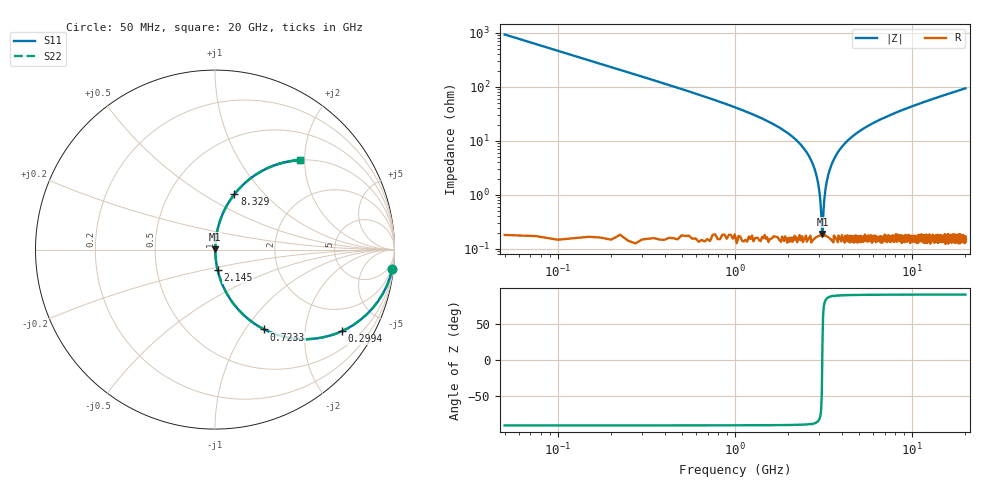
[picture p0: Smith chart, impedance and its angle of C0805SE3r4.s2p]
! AVX Thin Film Operation		Date: April 2012
! Description: Accu-P® Series, Thin Film, SMD, RF Capacitor
! Part Number: 08051J3R4ABTTR
!	100	MHz	-	20.05	GHz
!	Serial	Measurements
#	MHZ	S	MA	R	50
!	S11	S21	S12	S22
!	dB	Phase	dB	Phase	dB	Phase	dB	Phase
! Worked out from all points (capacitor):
!   801 points, 50 MHz to 20 GHz, reference 50 ohm
!   read as one part in series: C = 3.4 pF near 149.8 MHz
!   lowest |Z| = 190 mohm at 3.117 GHz (marker M1)
!   series resonance near 3.111 GHz, so ESL is about 770 pH
!   S11 on the Smith chart (normalised r, x): 50 MHz: 1, -19; 299.4 MHz: 1.00, -3.10; 723.3 MHz: 1.00, -1.23; 2.145 GHz: 1.00, -0.23; 8.329 GHz: 1.00, +0.69; 20 GHz: 1.00, +1.89
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50  0.994 -6.1  0.106 83.9  0.106 83.9  0.994 -6.1
199.625  0.919 -23.2  0.394 66.8  0.394 66.8  0.919 -23.2
299.375  0.84 -32.8  0.542 57.1  0.542 57.1  0.84 -32.8
723.313  0.522 -58.4  0.852 31.4  0.852 31.4  0.522 -58.4
1247  0.3 -72.3  0.952 17.5  0.952 17.5  0.3 -72.3
2144.75  0.114 -82.7  0.992 6.5  0.992 6.5  0.114 -82.7
2518.813  0.064 -84.9  0.996 3.7  0.996 3.7  0.064 -84.9
2768.188  0.035 -85.4  0.998 2.0  0.998 2.0  0.035 -85.4
2917.813  0.019 -84.3  0.998 1.1  0.998 1.1  0.019 -84.3
3042.5  0.006827 -76.4  0.998 0.4  0.998 0.4  0.006827 -76.4
3117.313  0.00169 22.7  0.998 -0.0  0.998 -0.0  0.00169 22.7
3192.125  0.007936 78.2  0.998 -0.4  0.998 -0.4  0.007936 78.2
3266.938  0.015 83.1  0.998 -0.8  0.998 -0.8  0.015 83.1
3391.625  0.026 85.1  0.998 -1.5  0.998 -1.5  0.026 85.1
3765.688  0.058 85.1  0.997 -3.3  0.997 -3.3  0.058 85.1
4389.125  0.105 83.1  0.993 -6.0  0.993 -6.0  0.105 83.1
6708.313  0.247 75.4  0.968 -14.3  0.968 -14.3  0.247 75.4
8329.25  0.327 70.6  0.943 -19.1  0.943 -19.1  0.327 70.6
10025  0.401 66.2  0.915 -23.6  0.915 -23.6  0.401 66.2
13366.62  0.521 58.4  0.852 -31.4  0.852 -31.4  0.521 58.4
16683.31  0.614 52.0  0.788 -37.9  0.788 -37.9  0.614 52.0
20000  0.686 46.6  0.727 -43.3  0.727 -43.3  0.686 46.6
